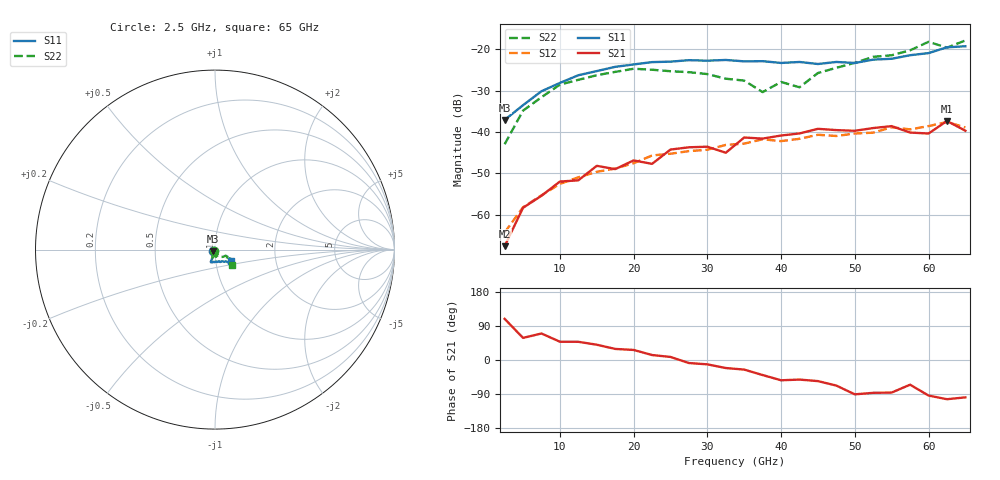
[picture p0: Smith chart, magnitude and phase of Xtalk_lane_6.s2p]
! File created by SignalIntegrity v1.5.1: Signal and Power Integrity Tools
! https://github.com/Nubis-Communications/SignalIntegrity
# MHz S MA R 50.0
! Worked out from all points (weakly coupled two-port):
!   26 points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, 2.5 GHz to 65 GHz, reference 50 ohm
!   highest |S21| = -37.33 dB at 62.5 GHz (marker M1); lowest = -67.6 dB at 2.5 GHz (marker M2)
!   lowest |S11| = -37.1 dB at 2.5 GHz (marker M3), VSWR 1.03, Z = 48.9 - j0.854 ohm
!   |S11| at or under -10 dB: start of sweep to end of sweep
!   |S22| runs from -43.0 to -17.9 dB; largest |S21 - S12| = 0.007
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2500  0.014 -141.4  0.0004191 108.6  0.0006132 68.0  0.007112 -117.6
5000  0.02108 -116.2  0.001219 58.3  0.001237 71.9  0.01813 -108.1
7500  0.03107 -113.0  0.001701 70.0  0.001722 62.3  0.02628 -100.4
10000  0.03911 -107.8  0.002526 48.3  0.002366 52.5  0.03734 -102.7
12500  0.04845 -109.2  0.002612 48.0  0.002843 44.0  0.04265 -104.7
15000  0.0544 -107.6  0.003909 40.4  0.003306 35.0  0.04848 -107.8
17500  0.06121 -109.0  0.003566 29.2  0.00362 28.3  0.05319 -110.2
20000  0.06547 -107.6  0.004544 26.5  0.004205 17.4  0.05804 -114.7
22500  0.06981 -109.5  0.004129 13.2  0.005212 14.0  0.05648 -114.4
25000  0.07069 -107.4  0.006143 8.1  0.005471 7.5  0.0542 -111.8
30000  0.07262 -106.4  0.006652 -11.5  0.006112 -13.7  0.05004 -111.3
32500  0.0741 -105.5  0.005625 -21.2  0.006989 -26.1  0.04401 -111.1
35000  0.07128 -102.8  0.008586 -25.3  0.007245 -28.1  0.04178 -103.8
37500  0.07164 -100.4  0.00833 -39.7  0.008172 -40.9  0.03033 -93.5
40000  0.06819 -95.2  0.009072 -53.5  0.007768 -46.2  0.04022 -82.2
42500  0.07008 -92.0  0.009615 -51.7  0.008284 -56.1  0.03468 -58.1
45000  0.06622 -84.6  0.01093 -55.7  0.009265 -61.8  0.05153 -52.0
52500  0.07481 -67.6  0.01117 -86.6  0.009827 -97.0  0.08088 -29.6
55000  0.07661 -57.6  0.01179 -85.9  0.0114 -93.9  0.08445 -40.8
60000  0.08966 -46.8  0.009587 -93.8  0.01179 -115.8  0.1226 -32.2
62500  0.1054 -43.9  0.01361 -103.5  0.01321 -110.3  0.1043 -25.9
65000  0.1084 -35.6  0.01037 -98.6  0.01137 -121.7  0.1274 -41.1
